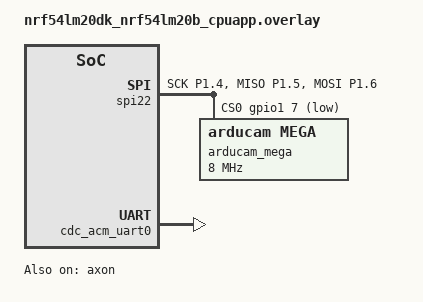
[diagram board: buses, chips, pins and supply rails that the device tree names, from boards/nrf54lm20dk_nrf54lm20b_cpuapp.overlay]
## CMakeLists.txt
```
# Copyright (c) 2026 Nordic Semiconductor
# SPDX-License-Identifier: LicenseRef-Nordic-5-Clause

cmake_minimum_required(VERSION 3.20.0)
find_package(Zephyr REQUIRED HINTS $ENV{ZEPHYR_BASE})
project(person_detection)

list(APPEND DTS_ROOT ${CMAKE_CURRENT_SOURCE_DIR}/dts)

include(${ZEPHYR_BASE}/samples/subsys/usb/common/common.cmake)

zephyr_include_directories(${CMAKE_CURRENT_SOURCE_DIR}/../common)

target_sources(app PRIVATE
  src/main.c
  src/postprocessing.c
  src/usb_stream.c
  src/drivers/arducam_mega.c
  ../common/companion_proto.c
  src/image_thumb.c
  src/companion_uart.c
)
```

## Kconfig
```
#
# Copyright (c) 2026 Nordic Semiconductor ASA
#
# SPDX-License-Identifier: LicenseRef-Nordic-5-Clause
#

menu "Person Detection"

config SCORE_THRESHOLD
	int "Model score threshold, in per mille"
	range 0 1000
	default 250

config IOU_THRESHOLD
	int "Boxes IoU threshold, in per mille"
	range 0 1000
	default 450

config COMPANION_LINK
	bool "UART link to nRF9151 companion"
	default y
	depends on SERIAL
	help
	  Send person-detect thumbnails to nRF9151 over companion UART.

config COMPANION_MIN_INTERVAL_SEC
	int "Minimum seconds between companion uplink events"
	default 900
	depends on COMPANION_LINK
	help
	  Debounce Iridium triggers from repeated detections.

if COMPANION_LINK
orsource "../common/Kconfig.companion"
endif

endmenu

source "samples/subsys/usb/common/Kconfig.sample_usbd"

source "Kconfig.zephyr"
```

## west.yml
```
#
# Copyright (c) 2026 Nordic Semiconductor ASA
#
# SPDX-License-Identifier: LicenseRef-Nordic-5-Clause
#

manifest:
  version: "0.13"

  remotes:
    - name: ncs
      url-base: https://github.com/nrfconnect

  projects:
    - name: edge-ai
      remote: ncs
      repo-path: sdk-edge-ai
      revision: v2.1.0
      import: true

  self:
    path: person-detection-demo
```

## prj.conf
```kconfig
# Copyright (c) 2026 Nordic Semiconductor
# SPDX-License-Identifier: LicenseRef-Nordic-5-Clause

# Enable logging
CONFIG_PRINTK=y
CONFIG_LOG=y
CONFIG_LOG_MODE_DEFERRED=y
CONFIG_CBPRINTF_FP_SUPPORT=y

# Enable GPIO for LEDs
CONFIG_GPIO=y

# Enable Axon NPU driver and configure buffer
CONFIG_NRF_AXON=y
CONFIG_NRF_AXON_INTERLAYER_BUFFER_SIZE=229376

# Enable and configure Arducam dependencies
CONFIG_SPI=y
CONFIG_VIDEO=y
CONFIG_VIDEO_BUFFER_POOL_HEAP_SIZE=8400
CONFIG_VIDEO_BUFFER_POOL_NUM_MAX=8

# Other
CONFIG_ASSERT=y
CONFIG_MAIN_STACK_SIZE=6144

# Model postprocessing thresholds
CONFIG_SCORE_THRESHOLD=900
CONFIG_IOU_THRESHOLD=450

# USB CDC ACM streaming
CONFIG_USB_DEVICE_STACK_NEXT=y
CONFIG_SERIAL=y
CONFIG_UART_LINE_CTRL=y
CONFIG_USBD_CDC_ACM_CLASS=y
CONFIG_CDC_ACM_SERIAL_INITIALIZE_AT_BOOT=n
CONFIG_USBD_CDC_ACM_WORKQUEUE=y
CONFIG_USBD_LOG_LEVEL_WRN=y
CONFIG_UDC_DRIVER_LOG_LEVEL_WRN=y
CONFIG_USBD_CDC_ACM_LOG_LEVEL_WRN=y
CONFIG_RING_BUFFER_LARGE=y
CONFIG_CRC=y
CONFIG_COMPANION_LINK=y
CONFIG_COMPANION_CHUNKED_NTN=y
# Bench default; use 900 for field/Iridium cost control
CONFIG_COMPANION_MIN_INTERVAL_SEC=15
CONFIG_SAMPLE_USBD_PID=0x000A
CONFIG_SAMPLE_USBD_PRODUCT="Person Detection Stream"
```

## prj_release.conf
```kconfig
# Copyright (c) 2026 Nordic Semiconductor
# SPDX-License-Identifier: LicenseRef-Nordic-5-Clause

# Enable GPIO for LEDs
CONFIG_GPIO=y

# Enable Axon NPU driver and configure buffer
CONFIG_NRF_AXON=y
CONFIG_NRF_AXON_INTERLAYER_BUFFER_SIZE=229376

# Enable and configure Arducam dependencies
CONFIG_SPI=y
CONFIG_VIDEO=y
CONFIG_VIDEO_BUFFER_POOL_HEAP_SIZE=8400
CONFIG_VIDEO_BUFFER_POOL_NUM_MAX=8

# Other
CONFIG_MAIN_STACK_SIZE=2048

# Model postprocessing thresholds
CONFIG_SCORE_THRESHOLD=900
CONFIG_IOU_THRESHOLD=450

# USB CDC ACM streaming
CONFIG_USB_DEVICE_STACK_NEXT=y
CONFIG_SERIAL=y
CONFIG_UART_LINE_CTRL=y
CONFIG_USBD_CDC_ACM_CLASS=y
CONFIG_CDC_ACM_SERIAL_INITIALIZE_AT_BOOT=n
CONFIG_USBD_CDC_ACM_WORKQUEUE=y
CONFIG_RING_BUFFER_LARGE=y
CONFIG_CRC=y
CONFIG_SAMPLE_USBD_PID=0x000A
CONFIG_SAMPLE_USBD_PRODUCT="Person Detection Stream"

# Release config
CONFIG_NCS_BOOT_BANNER=n
CONFIG_BOOT_BANNER=n
CONFIG_LOG=n
CONFIG_PRINTK=n
CONFIG_CONSOLE=n
CONFIG_UART_CONSOLE=n
CONFIG_SHELL=n

# Compiler and linker
CONFIG_SPEED_OPTIMIZATIONS=y
CONFIG_LTO=y
CONFIG_ISR_TABLES_LOCAL_DECLARATION=y
```

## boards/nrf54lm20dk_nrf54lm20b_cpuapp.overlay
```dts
/*
 * Copyright (c) 2026 Nordic Semiconductor ASA
 * SPDX-License-Identifier: LicenseRef-Nordic-5-Clause
 */

&axon {
	status = "okay";
};

&pinctrl {
	spi22_default: spi22_default {
		group1 {
			psels = <NRF_PSEL(SPIM_SCK, 1, 4)>,
				<NRF_PSEL(SPIM_MISO, 1, 5)>,
				<NRF_PSEL(SPIM_MOSI, 1, 6)>;
			bias-pull-down;
		};
	};

	spi22_sleep: spi22_sleep {
		group1 {
			psels = <NRF_PSEL(SPIM_SCK, 1, 4)>,
				<NRF_PSEL(SPIM_MISO, 1, 5)>,
				<NRF_PSEL(SPIM_MOSI, 1, 6)>;
			bias-pull-down;
			low-power-enable;
		};
	};
};

&spi22 {
	compatible = "nordic,nrf-spim";
	status = "okay";
	pinctrl-0 = <&spi22_default>;
	pinctrl-1 = <&spi22_sleep>;
	pinctrl-names = "default", "sleep";
	overrun-character = <0x00>;
	zephyr,pm-device-runtime-auto;
	cs-gpios = <&gpio1 7 GPIO_ACTIVE_LOW>;

	arducam_mega: arducam-mega@0 {
		compatible = "arducam,mega";
		reg = <0>;
		spi-max-frequency = <8000000>;
		status = "okay";
	};
};

&zephyr_udc0 {
	cdc_acm_uart0: cdc_acm_uart0 {
		compatible = "zephyr,cdc-acm-uart";
		tx-fifo-size = <8192>;
	};
};
```

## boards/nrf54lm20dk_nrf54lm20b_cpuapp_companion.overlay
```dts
/*
 * Copyright (c) 2026 Nordic Semiconductor ASA
 * SPDX-License-Identifier: LicenseRef-Nordic-5-Clause
 *
 * Companion UART to nRF9151 DK UART1 (cross-wire TX/RX, common GND).
 * UART21 on P1.14 (TX) and P1.23 (RX) @ 115200 — avoids P1.10–P1.13
 * used by logic-analyzer trace GPIO in the stock person-detection app.
 */

/ {
	aliases {
		companion-uart = &uart21;
	};
};

&pinctrl {
	uart21_default: uart21_default {
		group1 {
			psels = <NRF_PSEL(UART_TX, 1, 14)>,
				<NRF_PSEL(UART_RX, 1, 23)>;
		};
	};

	uart21_sleep: uart21_sleep {
		group1 {
			psels = <NRF_PSEL(UART_TX, 1, 14)>,
				<NRF_PSEL(UART_RX, 1, 23)>;
			low-power-enable;
		};
	};
};

&uart21 {
	status = "okay";
	current-speed = <115200>;
	pinctrl-0 = <&uart21_default>;
	pinctrl-1 = <&uart21_sleep>;
	pinctrl-names = "default", "sleep";
};
```

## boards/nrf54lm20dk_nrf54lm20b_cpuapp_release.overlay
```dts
/*
 * Copyright (c) 2026 Nordic Semiconductor ASA
 * SPDX-License-Identifier: LicenseRef-Nordic-5-Clause
 */

&axon {
	status = "okay";
};

&pinctrl {
	spi22_default: spi22_default {
		group1 {
			psels = <NRF_PSEL(SPIM_SCK, 1, 4)>,
				<NRF_PSEL(SPIM_MISO, 1, 5)>,
				<NRF_PSEL(SPIM_MOSI, 1, 6)>;
			bias-pull-down;
		};
	};

	spi22_sleep: spi22_sleep {
		group1 {
			psels = <NRF_PSEL(SPIM_SCK, 1, 4)>,
				<NRF_PSEL(SPIM_MISO, 1, 5)>,
				<NRF_PSEL(SPIM_MOSI, 1, 6)>;
			bias-pull-down;
			low-power-enable;
		};
	};
};

&spi22 {
	compatible = "nordic,nrf-spim";
	status = "okay";
	pinctrl-0 = <&spi22_default>;
	pinctrl-1 = <&spi22_sleep>;
	pinctrl-names = "default", "sleep";
	overrun-character = <0x00>;
	zephyr,pm-device-runtime-auto;
	cs-gpios = <&gpio1 7 GPIO_ACTIVE_LOW>;

	arducam_mega: arducam-mega@0 {
		compatible = "arducam,mega";
		reg = <0>;
		spi-max-frequency = <8000000>;
		status = "okay";
	};
};

&zephyr_udc0 {
	cdc_acm_uart0: cdc_acm_uart0 {
		compatible = "zephyr,cdc-acm-uart";
		tx-fifo-size = <8192>;
	};
};

&uart20 {
	status = "disabled";
};
```

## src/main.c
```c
/*
 * Copyright (c) 2026 Nordic Semiconductor ASA
 *
 * SPDX-License-Identifier: LicenseRef-Nordic-5-Clause
 */

#include <assert.h>
#include <stdint.h>

#include <zephyr/device.h>
#include <zephyr/drivers/gpio.h>
#include <zephyr/drivers/video.h>
#include <zephyr/kernel.h>
#include <zephyr/logging/log.h>

#include <axon/nrf_axon_platform.h>
#include <drivers/axon/nrf_axon_driver.h>
#include <drivers/axon/nrf_axon_nn_infer.h>

#include "generated/nrf_axon_model_person_det_.h"
#include "companion_uart.h"
#include "image_thumb.h"
#include "postprocessing.h"
#include "usb_stream.h"

LOG_MODULE_REGISTER(main);

#include <hal/nrf_gpio.h>
#define TRACE_PIN_CAPTURE NRF_GPIO_PIN_MAP(1, 10)
#define TRACE_PIN_PRE	  NRF_GPIO_PIN_MAP(1, 11)
#define TRACE_PIN_INFER	  NRF_GPIO_PIN_MAP(1, 12)
#define TRACE_PIN_POST	  NRF_GPIO_PIN_MAP(1, 13)

#define CAM_WIDTH    128
#define CAM_HEIGHT   128
#define MODEL_WIDTH  160
#define MODEL_HEIGHT 128
#define PAD_LEFT     (((MODEL_WIDTH) - (CAM_WIDTH)) / 2)
#define PAD_TOP	     (((MODEL_HEIGHT) - (CAM_HEIGHT)) / 2)

#define FRAME_RGB565_BYTES ((CAM_WIDTH) * (CAM_HEIGHT) * 2)

#define LUT_SIZE_5_BITS 32
#define LUT_SIZE_6_BITS 64

#define MAX_BOXES_LOG 8

static int8_t input_buf[MODEL_WIDTH * MODEL_HEIGHT * 3];
static int8_t output_buf[NRF_AXON_MODEL_PERSON_DET_PACKED_OUTPUT_SIZE];

static int8_t lut_red_blue[LUT_SIZE_5_BITS];
static int8_t lut_green[LUT_SIZE_6_BITS];

static uint32_t frame_id;

static uint8_t detect_thumb[THUMB_BYTES];

static const struct gpio_dt_spec led_capture = GPIO_DT_SPEC_GET(DT_ALIAS(led0), gpios);
static const struct gpio_dt_spec led_detection = GPIO_DT_SPEC_GET(DT_ALIAS(led1), gpios);

static int led_init(const struct gpio_dt_spec *spec)
{
	int err;

	if (!gpio_is_ready_dt(spec)) {
		LOG_ERR("GPIO %s is not ready", spec->port->name);
		return -ENODEV;
	}

	err = gpio_pin_configure_dt(spec, GPIO_OUTPUT_INACTIVE);
	if (err) {
		LOG_ERR("Failed to configure %s pin %u (err %d)", spec->port->name, spec->pin, err);
		return err;
	}

	return 0;
}

static inline int8_t quantize(const float value, const nrf_axon_nn_compiled_model_input_s *in)
{
	const uint32_t quant_mult = in->quant_mult;
	const uint8_t quant_round = in->quant_round;
	const int8_t quant_zp = in->quant_zp;

	const float scale = (float)quant_mult / (float)(1 << quant_round);
	const int32_t quantized = (int32_t)(value * scale) + quant_zp;

	return (int8_t)__ssat(quantized, 8);
}

static void prefill_input_buf(const nrf_axon_nn_compiled_model_input_s *in)
{
	const float gray_symmetric = 0.0f;
	const int8_t gray = quantize(gray_symmetric, in);

	memset(input_buf, gray, sizeof(input_buf));
}

static void prefill_luts(const nrf_axon_nn_compiled_model_input_s *in)
{
	for (size_t i = 0; i < ARRAY_SIZE(lut_red_blue); i++) {
		const float value = (float)i / 32.f;
		const float value_sym = (value * 2.f) - 1.f;

		lut_red_blue[i] = quantize(value_sym, in);
	}

	for (size_t i = 0; i < ARRAY_SIZE(lut_green); i++) {
		const float value = (float)i / 64.f;
		const float value_sym = (value * 2.f) - 1.f;

		lut_green[i] = quantize(value_sym, in);
	}
}

static inline uint16_t extract_pixel(const uint8_t *data, const size_t pixel)
{
	const size_t offset = pixel * 2;

	return (uint16_t)((uint16_t)data[offset] << 8 | data[offset + 1]);
}

static void convert_chunk_to_model_input(const uint8_t *chunk_buf, const size_t pixel_start,
					 const size_t pixel_count)
{
	for (size_t p = 0; p < pixel_count; p++) {
		const size_t pixel_idx = pixel_start + p;
		const size_t cam_row = pixel_idx / CAM_WIDTH;
		const size_t cam_col = pixel_idx % CAM_WIDTH;
		const size_t model_row = PAD_TOP + cam_row;
		const size_t model_col = PAD_LEFT + cam_col;
		const size_t dst_offset = model_row * MODEL_WIDTH + model_col;

		const uint16_t pixel = extract_pixel(chunk_buf, p);
		const uint8_t r5 = (pixel >> 11) & 0x1f;
		const uint8_t g6 = (pixel >> 5) & 0x3f;
		const uint8_t b5 = pixel & 0x1f;

		input_buf[0 * MODEL_WIDTH * MODEL_HEIGHT + dst_offset] = (int8_t)lut_red_blue[r5];
		input_buf[1 * MODEL_WIDTH * MODEL_HEIGHT + dst_offset] = (int8_t)lut_green[g6];
		input_buf[2 * MODEL_WIDTH * MODEL_HEIGHT + dst_offset] = (int8_t)lut_red_blue[b5];
	}
}

static int capture_one_frame(const struct device *video)
{
	size_t total = 0;

	usb_stream_frame_begin(frame_id, CAM_WIDTH, CAM_HEIGHT, FRAME_RGB565_BYTES);
	while (total < FRAME_RGB565_BYTES) {
		struct video_buffer *vbuf;
		int err = video_dequeue(video, &vbuf, K_FOREVER);

		if (err == -EAGAIN) {
			continue;
		}
		if (err) {
			LOG_ERR("video_dequeue failed: %d", err);
			return err;
		}

		const size_t room = FRAME_RGB565_BYTES - total;
		const size_t chunk = min(vbuf->bytesused, room);

		nrf_gpio_pin_set(TRACE_PIN_PRE);
		convert_chunk_to_model_input(vbuf->buffer, total / 2, chunk / 2);
		usb_stream_frame_chunk(vbuf->buffer, chunk);
		nrf_gpio_pin_clear(TRACE_PIN_PRE);


		total += chunk;

		vbuf->type = VIDEO_BUF_TYPE_OUTPUT;
		video_enqueue(video, vbuf);
	}

	usb_stream_frame_end();

	return 0;
}

static void log_bounding_boxes(const struct detection_box *boxes, const size_t n)
{
	for (size_t i = 0; i < n; i++) {
		LOG_INF("Bounding box %d: head %s, [%.1f, %.1f, %.1f, %.1f] score %.3f", i,
			model_head_name(boxes[i].head_id), (double)boxes[i].x1, (double)boxes[i].y1,
			(double)boxes[i].x2, (double)boxes[i].y2, (double)boxes[i].score);
	}
}

static int capture_and_detect(const struct device *video, const nrf_axon_nn_compiled_model_s *model)
{
	int err;
	nrf_axon_result_e result;

	struct detection_box boxes[MAX_BOXES_LOG];

	(void)gpio_pin_toggle_dt(&led_capture);

	nrf_gpio_pin_set(TRACE_PIN_CAPTURE);
	err = capture_one_frame(video);
	if (err) {
		LOG_ERR("Failed to capture frame (err %d)", err);
		(void)video_stream_stop(video, VIDEO_BUF_TYPE_OUTPUT);
		return -1;
	}
	nrf_gpio_pin_clear(TRACE_PIN_CAPTURE);

	nrf_gpio_pin_set(TRACE_PIN_INFER);
	result = nrf_axon_nn_model_infer_sync(model, input_buf, output_buf);
	nrf_gpio_pin_clear(TRACE_PIN_INFER);
	if (result != NRF_AXON_RESULT_SUCCESS) {
		LOG_ERR("Inference failed (result %d)", result);
		(void)gpio_pin_set_dt(&led_detection, 0);
		return -1;
	}

	nrf_gpio_pin_set(TRACE_PIN_POST);
	const size_t n = decode_output(model, output_buf, boxes, MAX_BOXES_LOG);
	nrf_gpio_pin_clear(TRACE_PIN_POST);

	usb_stream_send_detections(frame_id, MODEL_WIDTH, MODEL_HEIGHT,
				   PAD_LEFT, PAD_TOP, boxes, n);

	if (n > 0) {
		image_thumb_from_model_input(input_buf, MODEL_WIDTH, MODEL_HEIGHT, detect_thumb,
					     sizeof(detect_thumb));
		(void)companion_uart_send_detection(frame_id, boxes, n, detect_thumb,
						    sizeof(detect_thumb));

		(void)gpio_pin_set_dt(&led_detection, 1);
		log_bounding_boxes(boxes, n);
	} else {
		(void)gpio_pin_set_dt(&led_detection, 0);
		LOG_INF("No detections");
	}

	return 0;
}

int main(void)
{
	int err;

	nrf_axon_result_e result;
	const nrf_axon_nn_compiled_model_s *model = &model_person_det;
	const nrf_axon_nn_compiled_model_input_s *model_inputs =
		nrf_axon_nn_model_1st_external_input(model);

	const struct device *video = DEVICE_DT_GET(DT_NODELABEL(arducam_mega));
	struct video_buffer *vbuf;
	struct video_format fmt = {.type = VIDEO_BUF_TYPE_INPUT,
				   .pixelformat = VIDEO_PIX_FMT_RGB565,
				   .width = CAM_WIDTH,
				   .height = CAM_HEIGHT,
				   .pitch = CAM_WIDTH * 2};

	if (led_init(&led_capture) != 0) {
		return -1;
	}
	if (led_init(&led_detection) != 0) {
		return -1;
	}

	if (!device_is_ready(video)) {
		LOG_ERR("Video device not ready");
		return -1;
	}

	err = video_set_format(video, &fmt);
	if (err) {
		LOG_ERR("Setting video format failed (err %d)", err);
		return -1;
	}

	for (size_t i = 0; i < CONFIG_VIDEO_BUFFER_POOL_NUM_MAX; i++) {
		vbuf = video_buffer_alloc(1024, K_NO_WAIT);
		if (vbuf == NULL) {
			LOG_ERR("Allocation failed for video buffer %u", i);
			return -1;
		}
		vbuf->type = VIDEO_BUF_TYPE_OUTPUT;
		video_enqueue(video, vbuf);
	}

	result = nrf_axon_platform_init();
	if (result != NRF_AXON_RESULT_SUCCESS) {
		LOG_ERR("Axon platform init failed (result %d)", result);
		return -1;
	}

	result = nrf_axon_nn_model_validate(model);
	if (result != NRF_AXON_RESULT_SUCCESS) {
		LOG_ERR("Model validation failed (result %d)", result);
		return -1;
	}

	prefill_input_buf(model_inputs);
	prefill_luts(model_inputs);
	decode_init(model);

	err = usb_stream_init();
	if (err != 0) {
		LOG_WRN("USB stream init failed (err %d), continuing without streaming", err);
	}

	err = companion_uart_init();
	if (err != 0) {
		LOG_WRN("Companion UART init failed (err %d)", err);
	}

	nrf_gpio_cfg_output(TRACE_PIN_CAPTURE);
	nrf_gpio_cfg_output(TRACE_PIN_PRE);
	nrf_gpio_cfg_output(TRACE_PIN_INFER);
	nrf_gpio_cfg_output(TRACE_PIN_POST);

	LOG_INF("Person detection start");

	err = video_stream_start(video, VIDEO_BUF_TYPE_OUTPUT);
	if (err) {
		LOG_ERR("Failed to start stream (err %d)", err);
		return -1;
	}
	while (true) {
		err = capture_and_detect(video, model);
		if (err) {
			return -1;
		}

		frame_id++;
	}

	return 0;
}
```

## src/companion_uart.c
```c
/*
 * Copyright (c) 2026 Nordic Semiconductor ASA
 * SPDX-License-Identifier: LicenseRef-Nordic-5-Clause
 */

#include "companion_uart.h"

#include <errno.h>
#include <string.h>

#include <zephyr/device.h>
#include <zephyr/drivers/uart.h>
#include <zephyr/kernel.h>
#include <zephyr/logging/log.h>

#include "companion_proto.h"
#include "image_thumb.h"

LOG_MODULE_REGISTER(companion_uart, LOG_LEVEL_INF);

#if IS_ENABLED(CONFIG_COMPANION_LINK)

static const struct device *const uart_dev = DEVICE_DT_GET(DT_ALIAS(companion_uart));

static int64_t last_send_ms;

#if !IS_ENABLED(CONFIG_COMPANION_CHUNKED_NTN)
static struct companion_detect_image enc_msg;
#endif
static uint8_t wire_buf[COMPANION_FRAME_MAX];

static uint16_t top_score_mille(const struct detection_box *boxes, size_t box_count)
{
	uint16_t best = 0;

	for (size_t i = 0; i < box_count; i++) {
		const uint32_t mille = (uint32_t)(boxes[i].score * 1000.f);

		if (mille > best) {
			best = (uint16_t)MIN(mille, 1000U);
		}
	}

	return best;
}

static int uart_send_wire(const uint8_t *wire, size_t wire_len)
{
	for (size_t off = 0; off < wire_len; off++) {
		uart_poll_out(uart_dev, wire[off]);
	}

	return 0;
}

int companion_uart_init(void)
{
	if (!device_is_ready(uart_dev)) {
		LOG_ERR("Companion UART not ready");
		return -ENODEV;
	}

	last_send_ms = 0;
	LOG_INF("Companion UART ready");

	return 0;
}

int companion_uart_send_detection(uint32_t frame_id, const struct detection_box *boxes,
				  size_t box_count, const uint8_t *thumb, size_t thumb_len)
{
	size_t wire_len;
	int err;
	const uint16_t score = top_score_mille(boxes, box_count);

	if (box_count == 0 || thumb == NULL || thumb_len == 0) {
		return -EINVAL;
	}

	const int64_t now = k_uptime_get();
	const int64_t min_interval_ms = (int64_t)CONFIG_COMPANION_MIN_INTERVAL_SEC * 1000;

	if (last_send_ms != 0 && (now - last_send_ms) < min_interval_ms) {
		LOG_DBG("Companion debounced (%ds min interval)",
			CONFIG_COMPANION_MIN_INTERVAL_SEC);
		return 1;
	}

#if IS_ENABLED(CONFIG_COMPANION_CHUNKED_NTN)
	if (thumb_len != CONFIG_COMPANION_REASSEMBLY_BYTES) {
		return -EINVAL;
	}

	for (int i = 0; i < CONFIG_COMPANION_CHUNK_COUNT; i++) {
		const size_t off = (size_t)i * CONFIG_COMPANION_CHUNK_BYTES;
		const uint16_t clen = CONFIG_COMPANION_CHUNK_BYTES;

		err = companion_frame_encode_chunk(frame_id, score, THUMB_W, THUMB_H, (uint8_t)i,
						   CONFIG_COMPANION_CHUNK_COUNT,
						   thumb + off, clen, wire_buf, sizeof(wire_buf),
						   &wire_len);
		if (err) {
			LOG_WRN("Companion chunk %d encode failed: %d", i, err);
			return err;
		}

		uart_send_wire(wire_buf, wire_len);
	}

	last_send_ms = now;
	LOG_INF("Companion sent frame %u (%u B in %d chunks, score %u)", frame_id,
		(unsigned)thumb_len, CONFIG_COMPANION_CHUNK_COUNT, score);

	return 0;
#else
	if (thumb_len > COMPANION_MAX_IMAGE) {
		return -EINVAL;
	}

	memset(&enc_msg, 0, sizeof(enc_msg));
	enc_msg.hdr.magic = COMPANION_MAGIC;
	enc_msg.hdr.version = COMPANION_VERSION;
	enc_msg.hdr.msg_type = COMPANION_MSG_DETECT_IMAGE;
	enc_msg.hdr.frame_id = frame_id;
	enc_msg.hdr.detect_count = (uint8_t)MIN(box_count, 255U);
	enc_msg.hdr.top_score_mille = score;
	enc_msg.hdr.image_len = (uint16_t)thumb_len;
	enc_msg.hdr.image_fmt = COMPANION_FMT_RAW_LUMA;
	enc_msg.hdr.thumb_w = THUMB_W;
	enc_msg.hdr.thumb_h = THUMB_H;
	memcpy(enc_msg.image, thumb, thumb_len);

	err = companion_frame_encode(&enc_msg, wire_buf, sizeof(wire_buf), &wire_len);
	if (err) {
		LOG_WRN("Companion frame encode failed: %d", err);
		return err;
	}

	uart_send_wire(wire_buf, wire_len);

	last_send_ms = now;
	LOG_INF("Companion sent frame %u (%u bytes, score %u)", frame_id, (unsigned)wire_len, score);

	return 0;
#endif
}

#else

int companion_uart_init(void)
{
	return 0;
}

int companion_uart_send_detection(uint32_t frame_id, const struct detection_box *boxes,
				  size_t box_count, const uint8_t *thumb, size_t thumb_len)
{
	ARG_UNUSED(frame_id);
	ARG_UNUSED(boxes);
	ARG_UNUSED(box_count);
	ARG_UNUSED(thumb);
	ARG_UNUSED(thumb_len);

	return -ENOTSUP;
}

#endif
```

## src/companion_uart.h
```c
/*
 * Copyright (c) 2026 Nordic Semiconductor ASA
 * SPDX-License-Identifier: LicenseRef-Nordic-5-Clause
 */

#pragma once

#include <stdint.h>

#include "postprocessing.h"

int companion_uart_init(void);

int companion_uart_send_detection(uint32_t frame_id, const struct detection_box *boxes,
				  size_t box_count, const uint8_t *thumb, size_t thumb_len);
```

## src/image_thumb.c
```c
/*
 * Copyright (c) 2026 Nordic Semiconductor ASA
 * SPDX-License-Identifier: LicenseRef-Nordic-5-Clause
 */

#include "image_thumb.h"

#include <zephyr/sys/util.h>
#include "companion_proto.h"

#if IS_ENABLED(CONFIG_COMPANION_CHUNKED_NTN)
BUILD_ASSERT(THUMB_BYTES == CONFIG_COMPANION_REASSEMBLY_BYTES);
BUILD_ASSERT(THUMB_W * THUMB_H == THUMB_BYTES);
#else
BUILD_ASSERT(THUMB_BYTES <= COMPANION_MAX_IMAGE);
BUILD_ASSERT(THUMB_W * THUMB_H == THUMB_BYTES);
#endif

void image_thumb_from_model_input(const int8_t *model_input, size_t model_w, size_t model_h,
				  uint8_t *out, size_t out_len)
{
	const size_t plane = model_w * model_h;

	if (out_len < THUMB_BYTES || model_input == NULL || out == NULL) {
		return;
	}

	const int8_t *green = model_input + plane;

	for (size_t ty = 0; ty < THUMB_H; ty++) {
		const size_t sy = (ty * model_h) / THUMB_H;

		for (size_t tx = 0; tx < THUMB_W; tx++) {
			const size_t sx = (tx * model_w) / THUMB_W;
			const int8_t sample = green[sy * model_w + sx];

			out[ty * THUMB_W + tx] = (uint8_t)((int)sample + 128);
		}
	}
}
```

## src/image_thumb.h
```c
/*
 * Copyright (c) 2026 Nordic Semiconductor ASA
 * SPDX-License-Identifier: LicenseRef-Nordic-5-Clause
 */

#pragma once

#include <stddef.h>
#include <stdint.h>

#include <zephyr/autoconf.h>
#include <zephyr/sys/util.h>

#if IS_ENABLED(CONFIG_COMPANION_CHUNKED_NTN)
#define THUMB_W        ((uint16_t)CONFIG_COMPANION_THUMB_FULL_W)
#define THUMB_H        ((uint16_t)CONFIG_COMPANION_THUMB_FULL_H)
#define THUMB_BYTES    CONFIG_COMPANION_REASSEMBLY_BYTES
#else
#define THUMB_W        ((uint16_t)CONFIG_COMPANION_THUMB_W)
#define THUMB_H        ((uint16_t)CONFIG_COMPANION_THUMB_H)
#define THUMB_BYTES    CONFIG_COMPANION_THUMB_BYTES
#endif

void image_thumb_from_model_input(const int8_t *model_input, size_t model_w, size_t model_h,
				  uint8_t *out, size_t out_len);
```

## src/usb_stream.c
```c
/*
 * Copyright (c) 2026 Nordic Semiconductor ASA
 * SPDX-License-Identifier: LicenseRef-Nordic-5-Clause
 *
 * USB CDC ACM streaming: send RGB565 frames and detection boxes over USB HS.
 *
 * Uses the Zephyr device_next USB stack with CDC ACM class.
 *
 * The CDC ACM fifo API (uart_fifo_fill, uart_irq_tx_ready, etc.) must only
 * be called from the CDC ACM workqueue context.  Therefore we use an
 * application-level ring buffer: the main thread stages complete messages
 * into it, then calls uart_irq_tx_enable() (safe from any context) to
 * schedule the CDC ACM IRQ callback.  The callback drains the app ring
 * buffer via uart_fifo_fill() from the correct context.
 */

#include <zephyr/kernel.h>
#include <zephyr/device.h>
#include <zephyr/drivers/uart.h>
#include <zephyr/usb/usbd.h>
#include <zephyr/sys/atomic.h>
#include <zephyr/sys/crc.h>
#include <zephyr/sys/ring_buffer.h>
#include <zephyr/logging/log.h>

#include <string.h>

#include "usb_stream.h"

LOG_MODULE_REGISTER(usb_stream, LOG_LEVEL_INF);

/* Provided by sample_usbd_init.c (included via common.cmake). */
struct usbd_context *sample_usbd_init_device(usbd_msg_cb_t msg_cb);

static const struct device *cdc_dev = DEVICE_DT_GET_ONE(zephyr_cdc_acm_uart);
static atomic_t dtr_set;
static struct usbd_context *usbd_ctx;

/*
 * Application-level TX ring buffer.  The main thread writes complete
 * messages here; the CDC ACM IRQ callback drains it via uart_fifo_fill().
 */
#define APP_TX_BUF_SIZE 8192
static uint8_t app_tx_buffer[APP_TX_BUF_SIZE];
static struct ring_buf app_tx_rb;

/* Signalled by the IRQ callback when it has drained some data. */
static K_SEM_DEFINE(tx_drain_sem, 0, 1);

/* ------------------------------------------------------------------ */
/* CDC ACM IRQ callback — runs in CDC ACM workqueue context           */
/* ------------------------------------------------------------------ */

static void cdc_acm_irq_handler(const struct device *dev, void *user_data)
{
	ARG_UNUSED(user_data);

	while (uart_irq_update(dev) && uart_irq_is_pending(dev)) {
		if (uart_irq_tx_ready(dev)) {
			uint8_t *data_ptr;
			uint32_t claimed;

			claimed = ring_buf_get_claim(&app_tx_rb, &data_ptr, 512);
			if (claimed == 0) {
				uart_irq_tx_disable(dev);
				break;
			}

			int sent = uart_fifo_fill(dev, data_ptr, claimed);

			if (sent <= 0) {
				ring_buf_get_finish(&app_tx_rb, 0);
				break;
			}
			ring_buf_get_finish(&app_tx_rb, sent);

			/* Signal the main thread that buffer space is available. */
			k_sem_give(&tx_drain_sem);
		}
	}
}

/* ------------------------------------------------------------------ */
/* Message staging helpers — run from the main thread                 */
/* ------------------------------------------------------------------ */

static void usbd_msg_cb(struct usbd_context *const ctx, const struct usbd_msg *msg)
{
	if (usbd_can_detect_vbus(ctx)) {
		if (msg->type == USBD_MSG_VBUS_READY) {
			(void)usbd_enable(ctx);
		}
		if (msg->type == USBD_MSG_VBUS_REMOVED) {
			(void)usbd_disable(ctx);
		}
	}

	if (msg->type == USBD_MSG_CDC_ACM_CONTROL_LINE_STATE) {
		uint32_t dtr = 0U;

		(void)uart_line_ctrl_get(msg->dev, UART_LINE_CTRL_DTR, &dtr);
		atomic_set(&dtr_set, dtr ? 1 : 0);
		if (dtr) {
			LOG_INF("USB host connected (DTR)");
		} else {
			LOG_INF("USB host disconnected (DTR cleared)");
		}
	}
}

/**
 * Stage data into the app TX ring buffer.  Blocks until all data is
 * staged — the CDC ACM IRQ callback drains the buffer in the background.
 * Returns false if DTR was deasserted mid-transfer (host disconnected).
 */
static bool tx_stage(const uint8_t *data, size_t len)
{
	size_t done = 0;

	while (done < len) {
		if (!atomic_get(&dtr_set)) {
			return false;
		}

		uint32_t n = ring_buf_put(&app_tx_rb, data + done, len - done);

		done += n;
		if (done < len) {
			/* Kick CDC ACM TX and block until callback drains some data. */
			uart_irq_tx_enable(cdc_dev);
			k_sem_take(&tx_drain_sem, K_MSEC(10));
		}
	}

	/* Ensure TX path is running after staging new data. */
	uart_irq_tx_enable(cdc_dev);
	return true;
}

static void le16_put(uint8_t *dst, uint16_t v)
{
	dst[0] = (uint8_t)v;
	dst[1] = (uint8_t)(v >> 8);
}

static void le32_put(uint8_t *dst, uint32_t v)
{
	dst[0] = (uint8_t)v;
	dst[1] = (uint8_t)(v >> 8);
	dst[2] = (uint8_t)(v >> 16);
	dst[3] = (uint8_t)(v >> 24);
}

static void float_put(uint8_t *dst, float v)
{
	uint32_t u;

	memcpy(&u, &v, sizeof(u));
	le32_put(dst, u);
}

int usb_stream_init(void)
{
	if (!device_is_ready(cdc_dev)) {
		LOG_ERR("CDC ACM device not ready");
		return -ENODEV;
	}

	ring_buf_init(&app_tx_rb, sizeof(app_tx_buffer), app_tx_buffer);

	uart_irq_callback_set(cdc_dev, cdc_acm_irq_handler);

	usbd_ctx = sample_usbd_init_device(usbd_msg_cb);
	if (usbd_ctx == NULL) {
		LOG_ERR("USB device init failed");
		return -EIO;
	}

	if (!usbd_can_detect_vbus(usbd_ctx)) {
		int err = usbd_enable(usbd_ctx);

		if (err != 0) {
			LOG_ERR("usbd_enable failed: %d", err);
			return err;
		}
	}

	LOG_INF("USB CDC ACM stream ready (waiting for host DTR)");
	return 0;
}

/* ------------------------------------------------------------------ */
/* Streaming frame API                                                */
/* ------------------------------------------------------------------ */

static uint32_t frame_crc;
static uint32_t frame_tx_id;
static bool frame_active;

void usb_stream_frame_begin(uint32_t frame_id, uint16_t w, uint16_t h,
			    uint32_t payload_len)
{
	if (!atomic_get(&dtr_set)) {
		frame_active = false;
		return;
	}

	frame_crc = 0U;
	frame_tx_id = frame_id;

	/* 18-byte header: magic(4) + ver(1) + type(1) + w(2) + h(2) +
	 * payload_len(4) + frame_id(4).  CRC follows payload as trailer.
	 */
	uint8_t hdr[18];

	le32_put(&hdr[0], USB_STREAM_MAGIC);
	hdr[4] = USB_STREAM_VERSION;
	hdr[5] = USB_STREAM_TYPE_FRAME;
	le16_put(&hdr[6], w);
	le16_put(&hdr[8], h);
	le32_put(&hdr[10], payload_len);
	le32_put(&hdr[14], frame_id);

	frame_active = tx_stage(hdr, sizeof(hdr));
}

void usb_stream_frame_chunk(const uint8_t *data, size_t len)
{
	if (!frame_active) {
		return;
	}

	frame_crc = crc32_ieee_update(frame_crc, data, len);

	if (!tx_stage(data, len)) {
		frame_active = false;
	}
}

void usb_stream_frame_end(void)
{
	if (!frame_active) {
		return;
	}

	uint8_t crc_buf[4];

	le32_put(crc_buf, frame_crc);
	tx_stage(crc_buf, sizeof(crc_buf));

	frame_active = false;
}

void usb_stream_send_detections(uint32_t frame_id, uint16_t model_w, uint16_t model_h,
				uint16_t pad_left, uint16_t pad_top,
				const struct detection_box *boxes, size_t count)
{
	if (!atomic_get(&dtr_set)) {
		return;
	}

	if (count > 255) {
		count = 255;
	}

	/*
	 * Layout: magic(4) + hdr(15) + boxes(count*21) + crc32(4)
	 * CRC covers hdr + boxes (everything after magic, before crc32).
	 */

	/* Build 15-byte header (after magic). */
	uint8_t hdr[15];

	hdr[0] = USB_STREAM_VERSION;
	hdr[1] = USB_STREAM_TYPE_DETECT;
	le32_put(&hdr[2], frame_id);
	le16_put(&hdr[6], model_w);
	le16_put(&hdr[8], model_h);
	le16_put(&hdr[10], pad_left);
	le16_put(&hdr[12], pad_top);
	hdr[14] = (uint8_t)count;

	uint32_t crc = crc32_ieee(hdr, sizeof(hdr));

	/* Serialize boxes into a contiguous buffer for CRC + TX in one pass.
	 * Stack cost: at most 21 * count bytes. The caller typically passes
	 * a small array (person_det uses MAX_BOXES_LOG = 8 → 168 bytes).
	 */
	uint8_t box_data[count * 21];

	for (int i = 0; i < count; i++) {
		uint8_t *bp = &box_data[i * 21];

		float_put(&bp[0], boxes[i].x1);
		float_put(&bp[4], boxes[i].y1);
		float_put(&bp[8], boxes[i].x2);
		float_put(&bp[12], boxes[i].y2);
		float_put(&bp[16], boxes[i].score);
		bp[20] = (uint8_t)boxes[i].head_id;
	}

	const size_t box_bytes = (size_t)count * 21;

	if (box_bytes > 0) {
		crc = crc32_ieee_update(crc, box_data, box_bytes);
	}

	/* Transmit: magic + hdr + boxes + crc32 */
	uint8_t magic_buf[4];

	le32_put(magic_buf, USB_STREAM_MAGIC);

	if (!tx_stage(magic_buf, sizeof(magic_buf))) {
		return;
	}
	if (!tx_stage(hdr, sizeof(hdr))) {
		return;
	}
	if (box_bytes > 0 && !tx_stage(box_data, box_bytes)) {
		return;
	}

	uint8_t crc_buf[4];

	le32_put(crc_buf, crc);
	tx_stage(crc_buf, sizeof(crc_buf));
}
```

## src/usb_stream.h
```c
/*
 * Copyright (c) 2026 Nordic Semiconductor ASA
 * SPDX-License-Identifier: LicenseRef-Nordic-5-Clause
 *
 * USB CDC ACM streaming: RGB565 frames + detection boxes over USB HS.
 */

#pragma once

#include <stdint.h>
#include <stddef.h>

#include "postprocessing.h"

#define USB_STREAM_MAGIC       0x12345AA5U
#define USB_STREAM_VERSION     1
#define USB_STREAM_TYPE_FRAME  0x01
#define USB_STREAM_TYPE_DETECT 0x02

int usb_stream_init(void);

/**
 * Streaming frame API — overlaps USB TX with camera capture.
 *
 * Frame wire format (CRC is a trailer, not in the header):
 *   [magic(4) ver(1) type(1) w(2) h(2) plen(4) fid(4)]  — 18 B header
 *   [payload: RGB565 BE]                                  — plen bytes
 *   [crc32(payload)]                                      — 4 B trailer
 */
void usb_stream_frame_begin(uint32_t frame_id, uint16_t w, uint16_t h,
			    uint32_t payload_len);
void usb_stream_frame_chunk(const uint8_t *data, size_t len);
void usb_stream_frame_end(void);

void usb_stream_send_detections(uint32_t frame_id, uint16_t model_w, uint16_t model_h,
				uint16_t pad_left, uint16_t pad_top,
				const struct detection_box *boxes, size_t count);
```
